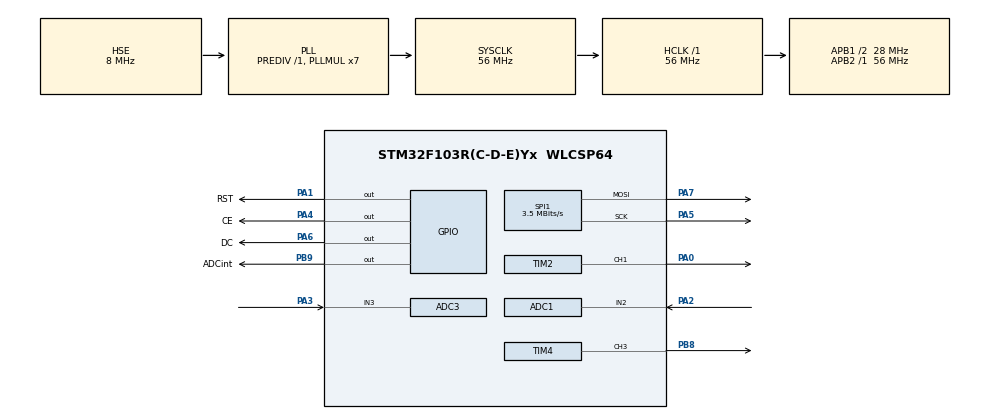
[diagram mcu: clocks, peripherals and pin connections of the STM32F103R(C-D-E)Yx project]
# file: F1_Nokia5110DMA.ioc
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ADC1.Channel-3\#ChannelRegularConversion=ADC_CHANNEL_2
ADC1.ContinuousConvMode=ENABLE
ADC1.EnableInjectedConversion=DISABLE
ADC1.EnableRegularConversion=ENABLE
ADC1.ExternalTrigConv=ADC_EXTERNALTRIGCONV_T8_TRGO
ADC1.Mode=__NULL
ADC1.NbrOfConversionFlag=1
ADC1.Rank-3\#ChannelRegularConversion=1
ADC1.SamplingTime-3\#ChannelRegularConversion=ADC_SAMPLETIME_1CYCLE_5
ADC1.master=1
ADC3.Channel-5\#ChannelRegularConversion=ADC_CHANNEL_3
ADC3.ContinuousConvMode=ENABLE
ADC3.EnableInjectedConversion=DISABLE
ADC3.EnableRegularConversion=ENABLE
ADC3.ExternalTrigConv=ADC_EXTERNALTRIGCONV_T8_TRGO
ADC3.NbrOfConversionFlag=1
ADC3.Rank-5\#ChannelRegularConversion=1
ADC3.SamplingTime-5\#ChannelRegularConversion=ADC_SAMPLETIME_1CYCLE_5
Dma.ADC1.1.Direction=DMA_PERIPH_TO_MEMORY
Dma.ADC1.1.Instance=DMA1_Channel1
Dma.ADC1.1.MemDataAlignment=DMA_MDATAALIGN_HALFWORD
Dma.ADC1.1.MemInc=DMA_MINC_ENABLE
Dma.ADC1.1.Mode=DMA_CIRCULAR
Dma.ADC1.1.PeriphDataAlignment=DMA_PDATAALIGN_HALFWORD
Dma.ADC1.1.PeriphInc=DMA_PINC_DISABLE
Dma.ADC1.1.Priority=DMA_PRIORITY_VERY_HIGH
Dma.ADC3.2.Direction=DMA_PERIPH_TO_MEMORY
Dma.ADC3.2.Instance=DMA2_Channel5
Dma.ADC3.2.MemDataAlignment=DMA_MDATAALIGN_HALFWORD
Dma.ADC3.2.MemInc=DMA_MINC_ENABLE
Dma.ADC3.2.Mode=DMA_CIRCULAR
Dma.ADC3.2.PeriphDataAlignment=DMA_PDATAALIGN_HALFWORD
Dma.ADC3.2.PeriphInc=DMA_PINC_DISABLE
Dma.ADC3.2.Priority=DMA_PRIORITY_VERY_HIGH
Dma.Request0=SPI1_TX
Dma.Request1=ADC1
Dma.Request2=ADC3
Dma.SPI1_TX.0.Direction=DMA_MEMORY_TO_PERIPH
Dma.SPI1_TX.0.Instance=DMA1_Channel3
Dma.SPI1_TX.0.MemDataAlignment=DMA_MDATAALIGN_BYTE
Dma.SPI1_TX.0.MemInc=DMA_MINC_ENABLE
Dma.SPI1_TX.0.Mode=DMA_NORMAL
Dma.SPI1_TX.0.PeriphDataAlignment=DMA_PDATAALIGN_BYTE
Dma.SPI1_TX.0.PeriphInc=DMA_PINC_DISABLE
Dma.SPI1_TX.0.Priority=DMA_PRIORITY_LOW
Mcu.Family=STM32F1
Mcu.Name=STM32F103R(C-D-E)Yx
Mcu.Package=WLCSP64
NVIC.ADC1_2_IRQn=true\:15\:0\:true\:false\:true\:true\:true
NVIC.ADC3_IRQn=true\:0\:0\:false\:false\:true\:true\:true
NVIC.DMA1_Channel1_IRQn=true\:0\:0\:false\:false\:true\:false\:true
NVIC.DMA1_Channel3_IRQn=true\:0\:0\:false\:false\:true\:false\:true
NVIC.DMA2_Channel4_5_IRQn=true\:0\:0\:false\:false\:true\:false\:true
NVIC.PriorityGroup=NVIC_PRIORITYGROUP_4
NVIC.TIM1_BRK_IRQn=true\:0\:0\:false\:false\:true\:true\:true
NVIC.TIM1_CC_IRQn=true\:0\:0\:false\:false\:true\:true\:true
NVIC.TIM1_TRG_COM_IRQn=true\:0\:0\:false\:false\:true\:true\:true
NVIC.TIM1_UP_IRQn=true\:0\:0\:false\:false\:true\:true\:true
NVIC.TIM2_IRQn=true\:0\:0\:false\:false\:true\:true\:true
PA0-WKUP.GPIO_Speed=GPIO_SPEED_FREQ_HIGH
PA0-WKUP.Signal=S_TIM2_CH1_ETR
PA1.GPIO_Label=RST
PA1.Signal=GPIO_Output
PA13.Mode=Serial_Wire
PA13.Signal=SYS_JTMS-SWDIO
PA14.Mode=Serial_Wire
PA14.Signal=SYS_JTCK-SWCLK
PA2.Signal=ADCx_IN2
PA3.Signal=ADCx_IN3
PA4.GPIO_Label=CE
PA4.Signal=GPIO_Output
PA5.Mode=TX_Only_Simplex_Unidirect_Master
PA5.Signal=SPI1_SCK
PA6.GPIO_Label=DC
PA6.Signal=GPIO_Output
PA7.Mode=TX_Only_Simplex_Unidirect_Master
PA7.Signal=SPI1_MOSI
PB8.Signal=S_TIM4_CH3
PB9.GPIO_Label=ADCint
PB9.Signal=GPIO_Output
PD0-OSC_IN.Mode=HSE-External-Oscillator
PD0-OSC_IN.Signal=RCC_OSC_IN
PD1-OSC_OUT.Mode=HSE-External-Oscillator
PD1-OSC_OUT.Signal=RCC_OSC_OUT
ProjectManager.HeapSize=0x200
ProjectManager.StackSize=0x400
ProjectManager.TargetToolchain=SW4STM32
RCC.ADCPresc=RCC_ADCPCLK2_DIV4
RCC.AHBFreq_Value=56000000
RCC.APB1CLKDivider=RCC_HCLK_DIV2
RCC.APB1Freq_Value=28000000
RCC.APB1TimFreq_Value=56000000
RCC.APB2Freq_Value=56000000
RCC.APB2TimFreq_Value=56000000
RCC.HCLKFreq_Value=56000000
RCC.PLLMUL=RCC_PLL_MUL7
RCC.PLLSourceVirtual=RCC_PLLSOURCE_HSE
RCC.SYSCLKFreq_VALUE=56000000
RCC.SYSCLKSource=RCC_SYSCLKSOURCE_PLLCLK
RCC.USBFreq_Value=56000000
SH.ADCx_IN2.0=ADC1_IN2,IN2
SH.ADCx_IN3.0=ADC3_IN3,IN3
SH.S_TIM2_CH1_ETR.0=TIM2_CH1,PWM Generation1 CH1
SH.S_TIM4_CH3.0=TIM4_CH3,PWM Generation3 CH3
SPI1.BaudRatePrescaler=SPI_BAUDRATEPRESCALER_16
SPI1.CalculateBaudRate=3.5 MBits/s
SPI1.Direction=SPI_DIRECTION_2LINES
SPI1.Mode=SPI_MODE_MASTER
SPI1.VirtualType=VM_MASTER
TIM1.AutoReloadPreload=TIM_AUTORELOAD_PRELOAD_DISABLE
TIM1.ClockDivision=TIM_CLOCKDIVISION_DIV1
TIM1.Period=4999
TIM1.Prescaler=5599
TIM2.AutoReloadPreload=TIM_AUTORELOAD_PRELOAD_ENABLE
TIM2.Channel-PWM\ Generation1\ CH1=TIM_CHANNEL_1
TIM2.ClockDivision=TIM_CLOCKDIVISION_DIV1
TIM2.OCFastMode_PWM-PWM\ Generation1\ CH1=TIM_OCFAST_ENABLE
TIM2.Period=1999
TIM2.Prescaler=5
TIM2.Pulse-PWM\ Generation1\ CH1=1000
TIM4.AutoReloadPreload=TIM_AUTORELOAD_PRELOAD_ENABLE
TIM4.Channel-PWM\ Generation3\ CH3=TIM_CHANNEL_3
TIM4.Period=1
TIM4.Prescaler=2250
TIM4.Pulse-PWM\ Generation3\ CH3=1
TIM8.AutoReloadPreload=TIM_AUTORELOAD_PRELOAD_ENABLE
TIM8.Period=1
TIM8.Prescaler=420
TIM8.TIM_MasterOutputTrigger=TIM_TRGO_UPDATE
VP_TIM1_VS_ClockSourceINT.Mode=Internal
VP_TIM2_VS_ClockSourceINT.Mode=Internal
VP_TIM4_VS_ClockSourceINT.Mode=Internal
VP_TIM8_VS_ClockSourceINT.Mode=Internal
board=custom

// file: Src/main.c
/* USER CODE BEGIN Header */
/**
 ******************************************************************************
 * @file           : main.c
 * @brief          : Main program body
 ******************************************************************************
 * @attention
 *
 * <h2><center>&copy; Copyright (c) 2020 STMicroelectronics.
 * All rights reserved.</center></h2>
 *
 * This software component is licensed by ST under BSD 3-Clause license,
 * the "License"; You may not use this file except in compliance with the
 * License. You may obtain a copy of the License at:
 *                        opensource.org/licenses/BSD-3-Clause
 *
 ******************************************************************************
 */
/* USER CODE END Header */

#include "main.h"

/* USER CODE BEGIN Includes */
#include "math.h"
/* USER CODE END Includes */

/* USER CODE BEGIN PTD */
static const uint8_t ASCII[96][5] = { { 0x00, 0x00, 0x00, 0x00, 0x00 } // 20
		, { 0x00, 0x00, 0x5f, 0x00, 0x00 } // 21 !
		, { 0x00, 0x07, 0x00, 0x07, 0x00 } // 22 "
		, { 0x14, 0x7f, 0x14, 0x7f, 0x14 } // 23 #
		, { 0x24, 0x2a, 0x7f, 0x2a, 0x12 } // 24 $
		, { 0x23, 0x13, 0x08, 0x64, 0x62 } // 25 %
		, { 0x36, 0x49, 0x55, 0x22, 0x50 } // 26 &
		, { 0x00, 0x05, 0x03, 0x00, 0x00 } // 27 '
		, { 0x00, 0x1c, 0x22, 0x41, 0x00 } // 28 (
		, { 0x00, 0x41, 0x22, 0x1c, 0x00 } // 29 )
		, { 0x14, 0x08, 0x3e, 0x08, 0x14 } // 2a *
		, { 0x08, 0x08, 0x3e, 0x08, 0x08 } // 2b +
		, { 0x00, 0x50, 0x30, 0x00, 0x00 } // 2c ,
		, { 0x08, 0x08, 0x08, 0x08, 0x08 } // 2d -
		, { 0x00, 0x60, 0x60, 0x00, 0x00 } // 2e .
		, { 0x20, 0x10, 0x08, 0x04, 0x02 } // 2f /
		, { 0x3e, 0x51, 0x49, 0x45, 0x3e } // 30 0
		, { 0x00, 0x42, 0x7f, 0x40, 0x00 } // 31 1
		, { 0x42, 0x61, 0x51, 0x49, 0x46 } // 32 2
		, { 0x21, 0x41, 0x45, 0x4b, 0x31 } // 33 3
		, { 0x18, 0x14, 0x12, 0x7f, 0x10 } // 34 4
		, { 0x27, 0x45, 0x45, 0x45, 0x39 } // 35 5
		, { 0x3c, 0x4a, 0x49, 0x49, 0x30 } // 36 6
		, { 0x01, 0x71, 0x09, 0x05, 0x03 } // 37 7
		, { 0x36, 0x49, 0x49, 0x49, 0x36 } // 38 8
		, { 0x06, 0x49, 0x49, 0x29, 0x1e } // 39 9
		, { 0x00, 0x36, 0x36, 0x00, 0x00 } // 3a :
		, { 0x00, 0x56, 0x36, 0x00, 0x00 } // 3b ;
		, { 0x08, 0x14, 0x22, 0x41, 0x00 } // 3c <
		, { 0x14, 0x14, 0x14, 0x14, 0x14 } // 3d =
		, { 0x00, 0x41, 0x22, 0x14, 0x08 } // 3e >
		, { 0x02, 0x01, 0x51, 0x09, 0x06 } // 3f ?
		, { 0x32, 0x49, 0x79, 0x41, 0x3e } // 40 @
		, { 0x7e, 0x11, 0x11, 0x11, 0x7e } // 41 A
		, { 0x7f, 0x49, 0x49, 0x49, 0x36 } // 42 B
		, { 0x3e, 0x41, 0x41, 0x41, 0x22 } // 43 C
		, { 0x7f, 0x41, 0x41, 0x22, 0x1c } // 44 D
		, { 0x7f, 0x49, 0x49, 0x49, 0x41 } // 45 E
		, { 0x7f, 0x09, 0x09, 0x09, 0x01 } // 46 F
		, { 0x3e, 0x41, 0x49, 0x49, 0x7a } // 47 G
		, { 0x7f, 0x08, 0x08, 0x08, 0x7f } // 48 H
		, { 0x00, 0x41, 0x7f, 0x41, 0x00 } // 49 I
		, { 0x20, 0x40, 0x41, 0x3f, 0x01 } // 4a J
		, { 0x7f, 0x08, 0x14, 0x22, 0x41 } // 4b K
		, { 0x7f, 0x40, 0x40, 0x40, 0x40 } // 4c L
		, { 0x7f, 0x02, 0x0c, 0x02, 0x7f } // 4d M
		, { 0x7f, 0x04, 0x08, 0x10, 0x7f } // 4e N
		, { 0x3e, 0x41, 0x41, 0x41, 0x3e } // 4f O
		, { 0x7f, 0x09, 0x09, 0x09, 0x06 } // 50 P
		, { 0x3e, 0x41, 0x51, 0x21, 0x5e } // 51 Q
		, { 0x7f, 0x09, 0x19, 0x29, 0x46 } // 52 R
		, { 0x46, 0x49, 0x49, 0x49, 0x31 } // 53 S
		, { 0x01, 0x01, 0x7f, 0x01, 0x01 } // 54 T
		, { 0x3f, 0x40, 0x40, 0x40, 0x3f } // 55 U
		, { 0x1f, 0x20, 0x40, 0x20, 0x1f } // 56 V
		, { 0x3f, 0x40, 0x38, 0x40, 0x3f } // 57 W
		, { 0x63, 0x14, 0x08, 0x14, 0x63 } // 58 X
		, { 0x07, 0x08, 0x70, 0x08, 0x07 } // 59 Y
		, { 0x61, 0x51, 0x49, 0x45, 0x43 } // 5a Z
		, { 0x00, 0x7f, 0x41, 0x41, 0x00 } // 5b [
		, { 0x02, 0x04, 0x08, 0x10, 0x20 } // 5c ¥
		, { 0x00, 0x41, 0x41, 0x7f, 0x00 } // 5d ]
		, { 0x04, 0x02, 0x01, 0x02, 0x04 } // 5e ^
		, { 0x40, 0x40, 0x40, 0x40, 0x40 } // 5f _
		, { 0x00, 0x01, 0x02, 0x04, 0x00 } // 60 `
		, { 0x20, 0x54, 0x54, 0x54, 0x78 } // 61 a
		, { 0x7f, 0x48, 0x44, 0x44, 0x38 } // 62 b
		, { 0x38, 0x44, 0x44, 0x44, 0x20 } // 63 c
		, { 0x38, 0x44, 0x44, 0x48, 0x7f } // 64 d
		, { 0x38, 0x54, 0x54, 0x54, 0x18 } // 65 e
		, { 0x08, 0x7e, 0x09, 0x01, 0x02 } // 66 f
		, { 0x0c, 0x52, 0x52, 0x52, 0x3e } // 67 g
		, { 0x7f, 0x08, 0x04, 0x04, 0x78 } // 68 h
		, { 0x00, 0x44, 0x7d, 0x40, 0x00 } // 69 i
		, { 0x20, 0x40, 0x44, 0x3d, 0x00 } // 6a j
		, { 0x7f, 0x10, 0x28, 0x44, 0x00 } // 6b k
		, { 0x00, 0x41, 0x7f, 0x40, 0x00 } // 6c l
		, { 0x7c, 0x04, 0x18, 0x04, 0x78 } // 6d m
		, { 0x7c, 0x08, 0x04, 0x04, 0x78 } // 6e n
		, { 0x38, 0x44, 0x44, 0x44, 0x38 } // 6f o
		, { 0x7c, 0x14, 0x14, 0x14, 0x08 } // 70 p
		, { 0x08, 0x14, 0x14, 0x18, 0x7c } // 71 q
		, { 0x7c, 0x08, 0x04, 0x04, 0x08 } // 72 r
		, { 0x48, 0x54, 0x54, 0x54, 0x20 } // 73 s
		, { 0x04, 0x3f, 0x44, 0x40, 0x20 } // 74 t
		, { 0x3c, 0x40, 0x40, 0x20, 0x7c } // 75 u
		, { 0x1c, 0x20, 0x40, 0x20, 0x1c } // 76 v
		, { 0x3c, 0x40, 0x30, 0x40, 0x3c } // 77 w
		, { 0x44, 0x28, 0x10, 0x28, 0x44 } // 78 x
		, { 0x0c, 0x50, 0x50, 0x50, 0x3c } // 79 y
		, { 0x44, 0x64, 0x54, 0x4c, 0x44 } // 7a z
		, { 0x00, 0x08, 0x36, 0x41, 0x00 } // 7b {
		, { 0x00, 0x00, 0x7f, 0x00, 0x00 } // 7c |
		, { 0x00, 0x41, 0x36, 0x08, 0x00 } // 7d }
		, { 0x10, 0x08, 0x08, 0x10, 0x08 } // 7e �?
		, { 0x78, 0x46, 0x41, 0x46, 0x78 } // 7f →
};

uint8_t Nokia_map[6][84];	//	504		uint8_t
uint16_t ADC_BUFF = 3696;
uint16_t BUFF_ADC1[3696];	//	4200	uint16_t (8400)
uint16_t BUFF_ADC3[3696];	//	4200	uint16_t (8400)

/* USER CODE END PTD */

ADC_HandleTypeDef hadc1;
ADC_HandleTypeDef hadc3;
DMA_HandleTypeDef hdma_adc1;
DMA_HandleTypeDef hdma_adc3;

SPI_HandleTypeDef hspi1;
DMA_HandleTypeDef hdma_spi1_tx;

TIM_HandleTypeDef htim1;
TIM_HandleTypeDef htim2;
TIM_HandleTypeDef htim4;
TIM_HandleTypeDef htim8;

void SystemClock_Config(void);
static void MX_GPIO_Init(void);
static void MX_DMA_Init(void);
static void MX_SPI1_Init(void);
static void MX_TIM1_Init(void);
static void MX_ADC1_Init(void);
static void MX_TIM2_Init(void);
static void MX_TIM4_Init(void);
static void MX_TIM8_Init(void);
static void MX_ADC3_Init(void);

/* USER CODE BEGIN 0 */

/* Scope function calculating some statistics
 * When calculating means of 2100 samples its take about 1.14ms
 * */
void Scope_qualifying_signal(uint32_t start, uint32_t *meanstrigger,
		uint8_t *trig_type) {
	uint16_t j;
	if (*trig_type == 1) {
		j = 0;
		*meanstrigger = 0;
		while (j < ADC_BUFF / 2) {
			*meanstrigger += BUFF_ADC1[j];
			j++;
		}
		*meanstrigger = *meanstrigger / (ADC_BUFF / 2);
	}
}

/* Scope buffer signal to display on screen with some feature like trigger
 * When using means of signal for trigger (1 trig_type) it's take 1,45ms to compute for 2100 samples
 * When using a simple trigger (0 trig_type) it's take 0.31ms for 2100 samples
 * */
void Scope_buff_to_Disp(uint16_t trig, uint8_t trig_type, uint8_t del,
		uint8_t half, uint16_t jump) {
	static uint16_t i, x, j, y, k;
	static uint16_t val;
	static uint16_t val2;
	static uint16_t trigger;
	static uint32_t means, meanstrigger;
	static uint16_t min, max;
	static uint16_t bfstart, bfstop;
	static uint8_t str[20];
	meanstrigger = 0;
	max = 0;
	min = 65535;
	if (!del) {
		if (half) {
			bfstart = ADC_BUFF / 2;
			bfstop = ADC_BUFF;
		} else {
			bfstart = 0;
			bfstop = ADC_BUFF / 2;
		}

		Scope_qualifying_signal(bfstart, &meanstrigger, &trig_type);

		switch (trig_type) {
		case 0:
			trigger = trig;
			break;
		case 1:
			trigger = meanstrigger / 10;
			break;
		case 2:
//		Trigger by multiple sample
			break;
		default:
			trigger = trig;
			break;
		}

		j = bfstart + 42 * jump;
		while (BUFF_ADC1[j] > trigger && (j < (bfstop - 168))) {
			j++;
		}
		while (BUFF_ADC1[j] < trigger && (j < (bfstop - 84))) {
			j++;
		}

		if (j >= bfstop - 42 * jump) {
			j = 84 * jump;
		}

		j -= (42 * jump) - 0;
	}

	i = 0;
	means = 0;
	while (i < 84) {
		if (del) {
			if ((i % 10) - 2 == 0) {
				Nokia_map[1][i] = 1; //1
			} else {
				Nokia_map[1][i] = 0;
			}
			if ((i % 10) - 2 == 0) {
				Nokia_map[2][i] = 0;
			} else {
				Nokia_map[2][i] = 0;
			}
			if ((i % 10) - 2 == 0) {
				Nokia_map[3][i] = 1;
			} else {
				Nokia_map[3][i] = 0;
			}
			if ((i % 10) - 2 == 0) {
				Nokia_map[4][i] = 128; //128
			} else {
				Nokia_map[4][i] = 0;
			}
		} else {
			k = 0;
			while (k < jump) {
				val = BUFF_ADC1[i * jump + j + k];
				val2 = BUFF_ADC3[i * jump + j + k];
				Nokia_map[4 - (val >> 10)][i] = Nokia_map[4 - (val >> 10)][i]
						| (1 << (7 - ((val >> 7) & 0b00000111)));
				Nokia_map[4 - (val2 >> 10)][i] = Nokia_map[4 - (val2 >> 10)][i]
						| (1 << (7 - ((val2 >> 7) & 0b00000111)));
				k++;
				means += val;
			}
		}
		i++;

	}
	means /= 4096;
	means *= 3300;
	means /= (84 * jump);
	x = 0;
	y = 5;
	sprintf(str, "means :%dmV", means);
	nokia_str(str, &x, &y);
}

void nokia_senddata(SPI_HandleTypeDef *hspi, uint8_t *data, uint16_t len) {
	uint16_t i = 0;
	uint8_t dt;
	HAL_GPIO_WritePin(DC_GPIO_Port, DC_Pin, 1);
	HAL_GPIO_WritePin(CE_GPIO_Port, CE_Pin, 0);
	while (i < len) {
		dt = data[i] & 0b11111111;
		HAL_SPI_Transmit(hspi, &dt, 1, HAL_MAX_DELAY);
		i++;
	}
	HAL_GPIO_WritePin(CE_GPIO_Port, CE_Pin, 1);
}

void nokia_sendcmd(SPI_HandleTypeDef *hspi, uint8_t *data, uint16_t len) {
	uint16_t i = 0;
	uint8_t dt;
	HAL_GPIO_WritePin(DC_GPIO_Port, DC_Pin, 0);
	//HAL_Delay(1);
	HAL_GPIO_WritePin(CE_GPIO_Port, CE_Pin, 0);
	while (i < len) {
		dt = data[i];
		HAL_SPI_Transmit(hspi, &dt, 1, HAL_MAX_DELAY);
		i++;
	}
	HAL_GPIO_WritePin(CE_GPIO_Port, CE_Pin, 1);
}

void nokia_char(uint8_t str, uint8_t *x, uint8_t *y) {
	uint8_t i = 0;
	uint8_t lx = x[0];
	uint8_t ly = y[0];
	while (i < 5) {
		Nokia_map[ly][lx] = ASCII[(str - 0x20)][i];
		lx++;
		i++;
		if (lx >= 84) {
			ly++;
			lx = 0;
			if (ly > 5) {
				ly = 0;
			}
		}
	}
	Nokia_map[ly][lx] = 0x00;
	lx++;
	if (lx >= 84) {
		ly++;
		lx = 0;
		if (ly > 5) {
			ly = 0;
		}
	}
	x[0] = lx;
	y[0] = ly;
}

void nokia_str(uint8_t *str, uint8_t *x, uint8_t *y) {
	uint8_t stri = 0;
//	uint8_t data[2];
	while (str[stri]) {
		nokia_char(str[stri], x, y);
		stri++;
	}
}

void nokia_xy(SPI_HandleTypeDef *hspi, uint8_t x, uint8_t y) {
	uint8_t data[2];
	data[0] = 0b01000000 | y;
	data[1] = 0b10000000 | x;
	nokia_sendcmd(hspi, data, 2);
}

void nokia_init(SPI_HandleTypeDef *hspi) {
	uint16_t i = 0;
	HAL_GPIO_WritePin(RST_GPIO_Port, RST_Pin, 1);
	HAL_GPIO_WritePin(DC_GPIO_Port, DC_Pin, 1);
	HAL_GPIO_WritePin(CE_GPIO_Port, CE_Pin, 1);
	HAL_Delay(1);
	HAL_GPIO_WritePin(RST_GPIO_Port, RST_Pin, 0);
	HAL_Delay(1);
	HAL_GPIO_WritePin(RST_GPIO_Port, RST_Pin, 1);
	Nokia_map[0][0] = 0x21;
	Nokia_map[0][1] = 0xb5;
	Nokia_map[0][2] = 0x04;
	Nokia_map[0][3] = 0x14;
	Nokia_map[0][4] = 0x20;
	Nokia_map[0][5] = 0x0c;
	nokia_sendcmd(hspi, Nokia_map[0], 6);
	i = 0;
	while (i < 504) {
		Nokia_map[0][i] = 0x00;
		i++;
	}
	nokia_senddata(hspi, Nokia_map[0], 504);
}

void nokia_refresh_map(SPI_HandleTypeDef *hspi) {
	nokia_xy(hspi, 0, 0);
	HAL_GPIO_WritePin(DC_GPIO_Port, DC_Pin, 1);
	HAL_GPIO_WritePin(CE_GPIO_Port, CE_Pin, 0);
	HAL_SPI_Transmit_DMA(hspi, Nokia_map[0], 504);
}

void HAL_SPI_TxCpltCallback(SPI_HandleTypeDef *hspi) {
	HAL_GPIO_WritePin(CE_GPIO_Port, CE_Pin, 1);
	Scope_buff_to_Disp(2048, 0, 1, 0, 1);

}

void HAL_TIM_PeriodElapsedCallback(TIM_HandleTypeDef *htim) {
	if (htim->Instance == TIM1) {
		nokia_refresh_map(&hspi1);
	}
}

void HAL_ADC_ConvCpltCallback(ADC_HandleTypeDef* hadc) {
	if (hadc->Instance == ADC3) {
		HAL_GPIO_TogglePin(ADCint_GPIO_Port, ADCint_Pin);
		Scope_buff_to_Disp(2048, 0, 0, 1, 1);
		HAL_GPIO_TogglePin(ADCint_GPIO_Port, ADCint_Pin);
	}
}

void HAL_ADC_ConvHalfCpltCallback(ADC_HandleTypeDef* hadc) {
	if (hadc->Instance == ADC3) {
		HAL_GPIO_TogglePin(ADCint_GPIO_Port, ADCint_Pin);
		Scope_buff_to_Disp(2048, 0, 0, 0, 1);
		HAL_GPIO_TogglePin(ADCint_GPIO_Port, ADCint_Pin);
	}
}

/* USER CODE END 0 */

int main(void)
{
  /* USER CODE BEGIN 1 */
	uint8_t x;
	uint8_t y;
  /* USER CODE END 1 */

  /* MCU Configuration--------------------------------------------------------*/

  /* Reset of all peripherals, Initializes the Flash interface and the Systick. */
  HAL_Init();

  /* Configure the system clock */
  SystemClock_Config();

  /* Initialize all configured peripherals */
  MX_GPIO_Init();
  MX_DMA_Init();
  MX_SPI1_Init();
  MX_TIM1_Init();
  MX_ADC1_Init();
  MX_TIM2_Init();
  MX_TIM4_Init();
  MX_TIM8_Init();
  MX_ADC3_Init();
  /* USER CODE BEGIN 2 */
	nokia_init(&hspi1);
	x = 0;
	y = 0;
	nokia_str("STM32SCOPE", &x, &y);
	HAL_TIM_Base_Start_IT(&htim1);
	HAL_ADC_Start_DMA(&hadc1, (uint32_t*) BUFF_ADC1, ADC_BUFF);
	HAL_ADC_Start_DMA(&hadc3, (uint32_t*) BUFF_ADC3, ADC_BUFF);
	HAL_TIM_PWM_Start(&htim2, TIM_CHANNEL_1);
	HAL_TIM_PWM_Start(&htim4, TIM_CHANNEL_3);
	HAL_TIM_Base_Start(&htim8);

	__HAL_TIM_SET_COMPARE(&htim2, TIM_CHANNEL_1, 1500);

  /* USER CODE END 2 */

  /* Infinite loop */
	while (1) {

	}
}

void SystemClock_Config(void)
{
  RCC_OscInitTypeDef RCC_OscInitStruct = {0};
  RCC_ClkInitTypeDef RCC_ClkInitStruct = {0};
  RCC_PeriphCLKInitTypeDef PeriphClkInit = {0};

  /** Initializes the CPU, AHB and APB busses clocks
  */
  RCC_OscInitStruct.OscillatorType = RCC_OSCILLATORTYPE_HSE;
  RCC_OscInitStruct.HSEState = RCC_HSE_ON;
  RCC_OscInitStruct.HSEPredivValue = RCC_HSE_PREDIV_DIV1;
  RCC_OscInitStruct.HSIState = RCC_HSI_ON;
  RCC_OscInitStruct.PLL.PLLState = RCC_PLL_ON;
  RCC_OscInitStruct.PLL.PLLSource = RCC_PLLSOURCE_HSE;
  RCC_OscInitStruct.PLL.PLLMUL = RCC_PLL_MUL7;
  if (HAL_RCC_OscConfig(&RCC_OscInitStruct) != HAL_OK)
  {
    Error_Handler();
  }
  /** Initializes the CPU, AHB and APB busses clocks
  */
  RCC_ClkInitStruct.ClockType = RCC_CLOCKTYPE_HCLK|RCC_CLOCKTYPE_SYSCLK
                              |RCC_CLOCKTYPE_PCLK1|RCC_CLOCKTYPE_PCLK2;
  RCC_ClkInitStruct.SYSCLKSource = RCC_SYSCLKSOURCE_PLLCLK;
  RCC_ClkInitStruct.AHBCLKDivider = RCC_SYSCLK_DIV1;
  RCC_ClkInitStruct.APB1CLKDivider = RCC_HCLK_DIV2;
  RCC_ClkInitStruct.APB2CLKDivider = RCC_HCLK_DIV1;

  if (HAL_RCC_ClockConfig(&RCC_ClkInitStruct, FLASH_LATENCY_2) != HAL_OK)
  {
    Error_Handler();
  }
  PeriphClkInit.PeriphClockSelection = RCC_PERIPHCLK_ADC;
  PeriphClkInit.AdcClockSelection = RCC_ADCPCLK2_DIV4;
  if (HAL_RCCEx_PeriphCLKConfig(&PeriphClkInit) != HAL_OK)
  {
    Error_Handler();
  }
}

static void MX_ADC1_Init(void)
{

  ADC_ChannelConfTypeDef sConfig = {0};

  /** Common config
  */
  hadc1.Instance = ADC1;
  hadc1.Init.ScanConvMode = ADC_SCAN_DISABLE;
  hadc1.Init.ContinuousConvMode = ENABLE;
  hadc1.Init.DiscontinuousConvMode = DISABLE;
  hadc1.Init.ExternalTrigConv = ADC_EXTERNALTRIGCONV_T8_TRGO;
  hadc1.Init.DataAlign = ADC_DATAALIGN_RIGHT;
  hadc1.Init.NbrOfConversion = 1;
  if (HAL_ADC_Init(&hadc1) != HAL_OK)
  {
    Error_Handler();
  }
  /** Enable or disable the remapping of ADC1_ETRGREG:
  * ADC1 External Event regular conversion is connected to TIM8 TRG0
  */
  __HAL_AFIO_REMAP_ADC1_ETRGREG_ENABLE();
  /** Configure Regular Channel
  */
  sConfig.Channel = ADC_CHANNEL_2;
  sConfig.Rank = ADC_REGULAR_RANK_1;
  sConfig.SamplingTime = ADC_SAMPLETIME_1CYCLE_5;
  if (HAL_ADC_ConfigChannel(&hadc1, &sConfig) != HAL_OK)
  {
    Error_Handler();
  }

}

static void MX_ADC3_Init(void)
{

  ADC_ChannelConfTypeDef sConfig = {0};

  /** Common config
  */
  hadc3.Instance = ADC3;
  hadc3.Init.ScanConvMode = ADC_SCAN_DISABLE;
  hadc3.Init.ContinuousConvMode = ENABLE;
  hadc3.Init.DiscontinuousConvMode = DISABLE;
  hadc3.Init.ExternalTrigConv = ADC_EXTERNALTRIGCONV_T8_TRGO;
  hadc3.Init.DataAlign = ADC_DATAALIGN_RIGHT;
  hadc3.Init.NbrOfConversion = 1;
  if (HAL_ADC_Init(&hadc3) != HAL_OK)
  {
    Error_Handler();
  }
  /** Configure Regular Channel
  */
  sConfig.Channel = ADC_CHANNEL_3;
  sConfig.Rank = ADC_REGULAR_RANK_1;
  sConfig.SamplingTime = ADC_SAMPLETIME_1CYCLE_5;
  if (HAL_ADC_ConfigChannel(&hadc3, &sConfig) != HAL_OK)
  {
    Error_Handler();
  }

}

static void MX_SPI1_Init(void)
{

  /* SPI1 parameter configuration*/
  hspi1.Instance = SPI1;
  hspi1.Init.Mode = SPI_MODE_MASTER;
  hspi1.Init.Direction = SPI_DIRECTION_2LINES;
  hspi1.Init.DataSize = SPI_DATASIZE_8BIT;
  hspi1.Init.CLKPolarity = SPI_POLARITY_LOW;
  hspi1.Init.CLKPhase = SPI_PHASE_1EDGE;
  hspi1.Init.NSS = SPI_NSS_SOFT;
  hspi1.Init.BaudRatePrescaler = SPI_BAUDRATEPRESCALER_16;
  hspi1.Init.FirstBit = SPI_FIRSTBIT_MSB;
  hspi1.Init.TIMode = SPI_TIMODE_DISABLE;
  hspi1.Init.CRCCalculation = SPI_CRCCALCULATION_DISABLE;
  hspi1.Init.CRCPolynomial = 10;
  if (HAL_SPI_Init(&hspi1) != HAL_OK)
  {
    Error_Handler();
  }

}

static void MX_TIM1_Init(void)
{

  TIM_ClockConfigTypeDef sClockSourceConfig = {0};
  TIM_MasterConfigTypeDef sMasterConfig = {0};

  htim1.Instance = TIM1;
  htim1.Init.Prescaler = 5599;
  htim1.Init.CounterMode = TIM_COUNTERMODE_UP;
  htim1.Init.Period = 4999;
  htim1.Init.ClockDivision = TIM_CLOCKDIVISION_DIV1;
  htim1.Init.RepetitionCounter = 0;
  htim1.Init.AutoReloadPreload = TIM_AUTORELOAD_PRELOAD_DISABLE;
  if (HAL_TIM_Base_Init(&htim1) != HAL_OK)
  {
    Error_Handler();
  }
  sClockSourceConfig.ClockSource = TIM_CLOCKSOURCE_INTERNAL;
  if (HAL_TIM_ConfigClockSource(&htim1, &sClockSourceConfig) != HAL_OK)
  {
    Error_Handler();
  }
  sMasterConfig.MasterOutputTrigger = TIM_TRGO_RESET;
  sMasterConfig.MasterSlaveMode = TIM_MASTERSLAVEMODE_DISABLE;
  if (HAL_TIMEx_MasterConfigSynchronization(&htim1, &sMasterConfig) != HAL_OK)
  {
    Error_Handler();
  }

}

static void MX_TIM2_Init(void)
{

  TIM_ClockConfigTypeDef sClockSourceConfig = {0};
  TIM_MasterConfigTypeDef sMasterConfig = {0};
  TIM_OC_InitTypeDef sConfigOC = {0};

  htim2.Instance = TIM2;
  htim2.Init.Prescaler = 5;
  htim2.Init.CounterMode = TIM_COUNTERMODE_UP;
  htim2.Init.Period = 1999;
  htim2.Init.ClockDivision = TIM_CLOCKDIVISION_DIV1;
  htim2.Init.AutoReloadPreload = TIM_AUTORELOAD_PRELOAD_ENABLE;
  if (HAL_TIM_Base_Init(&htim2) != HAL_OK)
  {
    Error_Handler();
  }
  sClockSourceConfig.ClockSource = TIM_CLOCKSOURCE_INTERNAL;
  if (HAL_TIM_ConfigClockSource(&htim2, &sClockSourceConfig) != HAL_OK)
  {
    Error_Handler();
  }
  if (HAL_TIM_PWM_Init(&htim2) != HAL_OK)
  {
    Error_Handler();
  }
  sMasterConfig.MasterOutputTrigger = TIM_TRGO_RESET;
  sMasterConfig.MasterSlaveMode = TIM_MASTERSLAVEMODE_DISABLE;
  if (HAL_TIMEx_MasterConfigSynchronization(&htim2, &sMasterConfig) != HAL_OK)
  {
    Error_Handler();
  }
  sConfigOC.OCMode = TIM_OCMODE_PWM1;
  sConfigOC.Pulse = 1000;
  sConfigOC.OCPolarity = TIM_OCPOLARITY_HIGH;
  sConfigOC.OCFastMode = TIM_OCFAST_ENABLE;
  if (HAL_TIM_PWM_ConfigChannel(&htim2, &sConfigOC, TIM_CHANNEL_1) != HAL_OK)
  {
    Error_Handler();
  }
  HAL_TIM_MspPostInit(&htim2);

}

static void MX_TIM4_Init(void)
{

  TIM_ClockConfigTypeDef sClockSourceConfig = {0};
  TIM_MasterConfigTypeDef sMasterConfig = {0};
  TIM_OC_InitTypeDef sConfigOC = {0};

  htim4.Instance = TIM4;
  htim4.Init.Prescaler = 2250;
  htim4.Init.CounterMode = TIM_COUNTERMODE_UP;
  htim4.Init.Period = 1;
  htim4.Init.ClockDivision = TIM_CLOCKDIVISION_DIV1;
  htim4.Init.AutoReloadPreload = TIM_AUTORELOAD_PRELOAD_ENABLE;
  if (HAL_TIM_Base_Init(&htim4) != HAL_OK)
  {
    Error_Handler();
  }
  sClockSourceConfig.ClockSource = TIM_CLOCKSOURCE_INTERNAL;
  if (HAL_TIM_ConfigClockSource(&htim4, &sClockSourceConfig) != HAL_OK)
  {
    Error_Handler();
  }
  if (HAL_TIM_PWM_Init(&htim4) != HAL_OK)
  {
    Error_Handler();
  }
  sMasterConfig.MasterOutputTrigger = TIM_TRGO_RESET;
  sMasterConfig.MasterSlaveMode = TIM_MASTERSLAVEMODE_DISABLE;
  if (HAL_TIMEx_MasterConfigSynchronization(&htim4, &sMasterConfig) != HAL_OK)
  {
    Error_Handler();
  }
  sConfigOC.OCMode = TIM_OCMODE_PWM1;
  sConfigOC.Pulse = 1;
  sConfigOC.OCPolarity = TIM_OCPOLARITY_HIGH;
  sConfigOC.OCFastMode = TIM_OCFAST_DISABLE;
  if (HAL_TIM_PWM_ConfigChannel(&htim4, &sConfigOC, TIM_CHANNEL_3) != HAL_OK)
  {
    Error_Handler();
  }
  HAL_TIM_MspPostInit(&htim4);

}

static void MX_TIM8_Init(void)
{

  TIM_ClockConfigTypeDef sClockSourceConfig = {0};
  TIM_MasterConfigTypeDef sMasterConfig = {0};

  htim8.Instance = TIM8;
  htim8.Init.Prescaler = 420;
  htim8.Init.CounterMode = TIM_COUNTERMODE_UP;
  htim8.Init.Period = 1;
  htim8.Init.ClockDivision = TIM_CLOCKDIVISION_DIV1;
  htim8.Init.RepetitionCounter = 0;
  htim8.Init.AutoReloadPreload = TIM_AUTORELOAD_PRELOAD_ENABLE;
  if (HAL_TIM_Base_Init(&htim8) != HAL_OK)
  {
    Error_Handler();
  }
  sClockSourceConfig.ClockSource = TIM_CLOCKSOURCE_INTERNAL;
  if (HAL_TIM_ConfigClockSource(&htim8, &sClockSourceConfig) != HAL_OK)
  {
    Error_Handler();
  }
  sMasterConfig.MasterOutputTrigger = TIM_TRGO_UPDATE;
  sMasterConfig.MasterSlaveMode = TIM_MASTERSLAVEMODE_DISABLE;
  if (HAL_TIMEx_MasterConfigSynchronization(&htim8, &sMasterConfig) != HAL_OK)
  {
    Error_Handler();
  }

}

static void MX_DMA_Init(void)
{

  /* DMA controller clock enable */
  __HAL_RCC_DMA1_CLK_ENABLE();
  __HAL_RCC_DMA2_CLK_ENABLE();

  /* DMA interrupt init */
  /* DMA1_Channel1_IRQn interrupt configuration */
  HAL_NVIC_SetPriority(DMA1_Channel1_IRQn, 0, 0);
  HAL_NVIC_EnableIRQ(DMA1_Channel1_IRQn);
  /* DMA1_Channel3_IRQn interrupt configuration */
  HAL_NVIC_SetPriority(DMA1_Channel3_IRQn, 0, 0);
  HAL_NVIC_EnableIRQ(DMA1_Channel3_IRQn);
  /* DMA2_Channel4_5_IRQn interrupt configuration */
  HAL_NVIC_SetPriority(DMA2_Channel4_5_IRQn, 0, 0);
  HAL_NVIC_EnableIRQ(DMA2_Channel4_5_IRQn);

}

static void MX_GPIO_Init(void)
{
  GPIO_InitTypeDef GPIO_InitStruct = {0};

  /* GPIO Ports Clock Enable */
  __HAL_RCC_GPIOA_CLK_ENABLE();
  __HAL_RCC_GPIOB_CLK_ENABLE();
  __HAL_RCC_GPIOD_CLK_ENABLE();

  /*Configure GPIO pin Output Level */
  HAL_GPIO_WritePin(ADCint_GPIO_Port, ADCint_Pin, GPIO_PIN_RESET);

  /*Configure GPIO pin Output Level */
  HAL_GPIO_WritePin(GPIOA, RST_Pin|DC_Pin|CE_Pin, GPIO_PIN_RESET);

  /*Configure GPIO pin : ADCint_Pin */
  GPIO_InitStruct.Pin = ADCint_Pin;
  GPIO_InitStruct.Mode = GPIO_MODE_OUTPUT_PP;
  GPIO_InitStruct.Pull = GPIO_NOPULL;
  GPIO_InitStruct.Speed = GPIO_SPEED_FREQ_LOW;
  HAL_GPIO_Init(ADCint_GPIO_Port, &GPIO_InitStruct);

  /*Configure GPIO pins : RST_Pin DC_Pin CE_Pin */
  GPIO_InitStruct.Pin = RST_Pin|DC_Pin|CE_Pin;
  GPIO_InitStruct.Mode = GPIO_MODE_OUTPUT_PP;
  GPIO_InitStruct.Pull = GPIO_NOPULL;
  GPIO_InitStruct.Speed = GPIO_SPEED_FREQ_LOW;
  HAL_GPIO_Init(GPIOA, &GPIO_InitStruct);

}

void Error_Handler(void)
{
}

/************************ (C) COPYRIGHT STMicroelectronics *****END OF FILE****/
